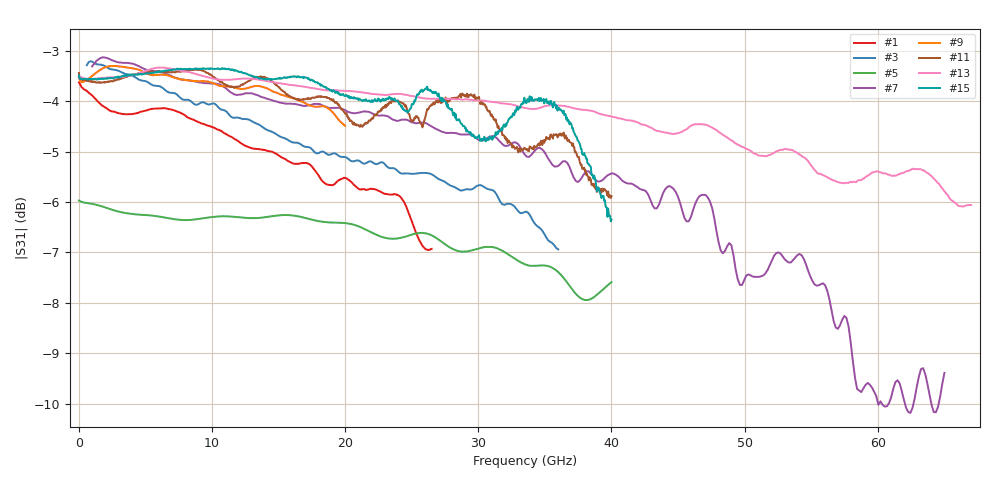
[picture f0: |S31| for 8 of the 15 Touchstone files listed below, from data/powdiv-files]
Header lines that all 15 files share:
! MARKI MICROWAVE INC.
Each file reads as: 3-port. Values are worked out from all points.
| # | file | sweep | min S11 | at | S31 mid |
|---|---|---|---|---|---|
| 1 | MPD-0226SM.s3p | 10 MHz to 26.5 GHz | -42.4 dB | 14.05 GHz | -4.9 dB at 13.26 GHz |
| 2 | PD-0R618.s3p | 600 MHz to 18 GHz | -35.8 dB | 16.43 GHz | -3.9 dB at 9.3 GHz |
| 3 | PD-0R636.s3p | 600 MHz to 36 GHz | -32.2 dB | 14.55 GHz | -5.0 dB at 18.3 GHz |
| 4 | PD-0020.s3p | 10 MHz to 20 GHz | -40.0 dB | 210 MHz | -6.1 dB at 10.01 GHz |
| 5 | PD-0040.s3p | 10 MHz to 40 GHz | -47.5 dB | 210 MHz | -6.4 dB at 20.01 GHz |
| 6 | PD-0140.s3p | 1 GHz to 40 GHz | -33.6 dB | 20.95 GHz | -4.1 dB at 20.5 GHz |
| 7 | PD-0165.s3p | 1 GHz to 65 GHz | -30.3 dB | 49.32 GHz | -4.9 dB at 33 GHz |
| 8 | PD-0218.s3p | 10 MHz to 20 GHz | -43.1 dB | 15.85 GHz | -3.7 dB at 10.01 GHz |
| 9 | PD-0220.s3p | 10 MHz to 20 GHz | -43.2 dB | 9.61 GHz | -3.6 dB at 10.01 GHz |
| 10 | PD-0426.s3p | 10 MHz to 30 GHz | -33.2 dB | 29.55 GHz | -3.5 dB at 15.01 GHz |
| 11 | PD-0434SM.s3p | 10 MHz to 40 GHz | -36.7 dB | 29.6 GHz | -4.3 dB at 20 GHz |
| 12 | PD-0440.s3p | 10 MHz to 40 GHz | -44.1 dB | 23.95 GHz | -3.8 dB at 20 GHz |
| 13 | PD-0465.s3p | 10 MHz to 67 GHz | -39.8 dB | 21.03 GHz | -4.1 dB at 33.51 GHz |
| 14 | PD-0530SM.s3p | 10 MHz to 30 GHz | -43.3 dB | 18.83 GHz | -3.8 dB at 15.01 GHz |
| 15 | PD-0535SM.s3p | 10 MHz to 40 GHz | -43.8 dB | 25.1 GHz | -3.9 dB at 20 GHz |
